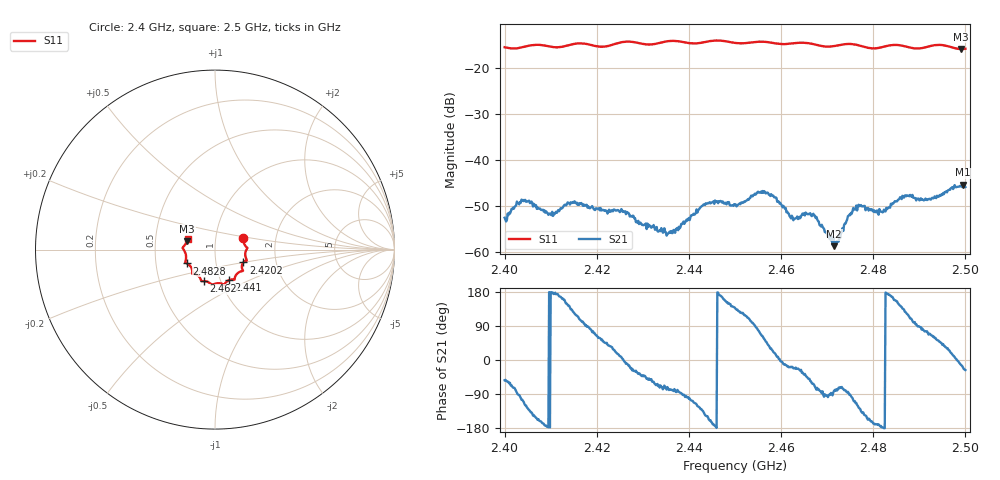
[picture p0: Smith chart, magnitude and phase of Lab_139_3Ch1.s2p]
# Hz S RI R 50
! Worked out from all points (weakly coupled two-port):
!   601 points, 2.4 GHz to 2.5 GHz, reference 50 ohm
!   highest |S21| = -45.37 dB at 2.4995 GHz (marker M1); lowest = -58.7 dB at 2.4715 GHz (marker M2)
!   lowest |S11| = -15.8 dB at 2.499 GHz (marker M3), VSWR 1.39, Z = 36.4 + j3.49 ohm
!   |S11| at or under -10 dB: start of sweep to end of sweep
!   S12 and S22 are empty: the file has one direction only
!   S11 on the Smith chart (normalised r, x): 2.4 GHz: 1.36, +0.18; 2.4202 GHz: 1.36, -0.20; 2.441 GHz: 1.10, -0.39; 2.462 GHz: 0.84, -0.30; 2.4828 GHz: 0.72, -0.11; 2.5 GHz: 0.73, +0.09
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2.4e9  0.1583 0.0626  0.00141 -0.00189  0 0  0 0
2.404167e9  0.1705 0.019  -0.0013 -0.00333  0 0  0 0
2.41e9  0.1723 -0.0066  -0.00262 6.84e-05  0 0  0 0
2.416667e9  0.1774 -0.0606  -0.000745 0.00333  0 0  0 0
2.420167e9  0.1584 -0.0714  0.00141 0.0026  0 0  0 0
2.425667e9  0.1555 -0.1161  0.00273 0.000127  0 0  0 0
2.433333e9  0.112 -0.1511  0.000596 -0.00155  0 0  0 0
2.4365e9  0.1087 -0.1674  0.000282 -0.00159  0 0  0 0
2.441e9  0.0787 -0.1698  -0.000959 -0.00242  0 0  0 0
2.444167e9  0.0552 -0.189  -0.00301 -0.00163  0 0  0 0
2.45e9  0.0284 -0.1877  -0.00238 0.00218  0 0  0 0
2.4565e9  -0.0179 -0.1941  0.00271 0.00359  0 0  0 0
2.462e9  -0.0603 -0.1759  0.00228 -0.000742  0 0  0 0
2.466667e9  -0.0787 -0.1682  0.00119 -0.00215  0 0  0 0
2.4715e9  -0.1093 -0.137  0.000175 -0.00114  0 0  0 0
2.476833e9  -0.1269 -0.1256  -0.00191 -0.00266  0 0  0 0
2.482833e9  -0.1574 -0.077  -0.00303 0.000168  0 0  0 0
2.483333e9  -0.1606 -0.0754  -0.00303 0.000423  0 0  0 0
2.486833e9  -0.1636 -0.0612  -0.00251 0.00326  0 0  0 0
2.499e9  -0.1556 0.0467  0.00509 -0.00113  0 0  0 0
2.4995e9  -0.1537 0.0537  0.00505 -0.00188  0 0  0 0
2.5e9  -0.1523 0.0607  0.00456 -0.00229  0 0  0 0
